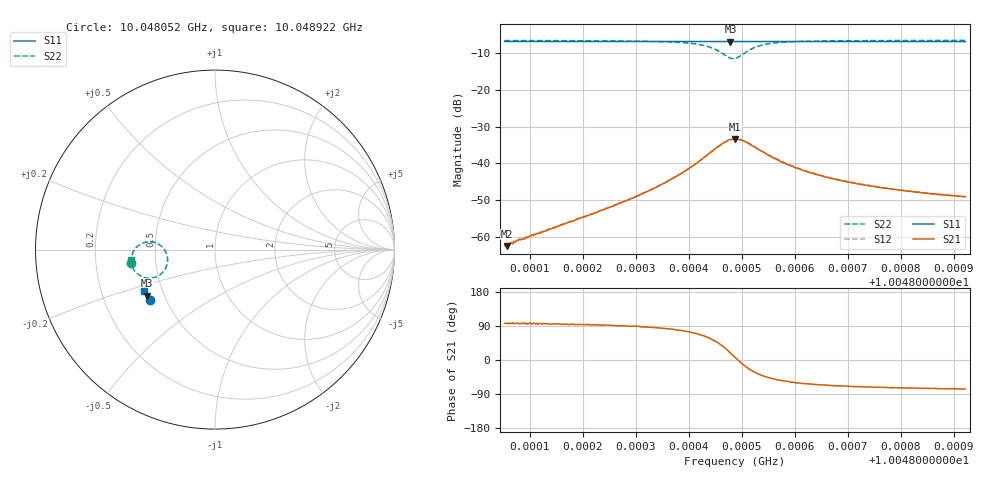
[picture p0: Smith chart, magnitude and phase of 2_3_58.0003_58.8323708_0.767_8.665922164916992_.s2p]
#  HZ  S  RI  R  50.00
! Rohde & Schwarz Vector Network Analyzer
! Rohde-Schwarz,ZNB20-2Port,1311601062101988,3.16
! Created: UTC 3/21/2024, 12:50:20 AM
! freq[Hz]  re:S11  im:S11  re:S21  im:S21  re:S12  im:S12  re:S22  im:S22
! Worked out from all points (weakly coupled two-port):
!   401 points, 10.048052 GHz to 10.048922 GHz, reference 50 ohm
!   highest |S21| = -33.35 dB at 10.048487 GHz (marker M1); lowest = -62.6 dB at 10.048056 GHz (marker M2)
!   lowest |S11| = -6.8 dB at 10.048478 GHz (marker M3), VSWR 2.68, Z = 20.1 - j13 ohm
!   |S11| at or under -10 dB: nowhere
!   |S22| runs from -11.4 to -6.5 dB; largest |S21 - S12| = 0.0019
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1.00480521e10  -0.364 -0.2807  -9e-05 0.000745  -0.000113 0.000731  -0.4673 -0.075
1.00480565e10  -0.3641 -0.2803  -9.5e-05 0.000738  -0.00016 0.000755  -0.4673 -0.0745
1.00480674e10  -0.3647 -0.2798  -0.000123 0.000786  -0.000177 0.000824  -0.4674 -0.0731
1.00480869e10  -0.3655 -0.2787  -0.000111 0.000916  -0.00016 0.000917  -0.4677 -0.0708
1.00481978e10  -0.3698 -0.2725  -0.000114 0.00182  -0.000264 0.00182  -0.4674 -0.0553
1.00482848e10  -0.3731 -0.2677  3.07e-05 0.00315  -0.00017 0.00316  -0.4648 -0.0368
1.00483435e10  -0.3753 -0.2641  0.000474 0.00493  0.000158 0.00494  -0.4583 -0.017
1.0048387e10  -0.3769 -0.2614  0.00162 0.0072  0.00117 0.00729  -0.444 0.00617
1.00484261e10  -0.3779 -0.2589  0.00504 0.0105  0.00432 0.0107  -0.4074 0.0345
1.00484413e10  -0.3782 -0.2579  0.00808 0.0119  0.00698 0.0122  -0.3778 0.0429
1.00484566e10  -0.3783 -0.2569  0.0124 0.012  0.0116 0.0125  -0.3354 0.0392
1.00484783e10  -0.378 -0.2559  0.0199 0.00664  0.0192 0.00824  -0.2724 -0.0169
1.0048487e10  -0.3781 -0.2559  0.0213 0.0026  0.021 0.00433  -0.2638 -0.0563
1.00485e10  -0.3785 -0.2559  0.0203 -0.00327  0.0206 -0.00151  -0.2795 -0.1121
1.00485109e10  -0.3792 -0.2557  0.0177 -0.0068  0.0184 -0.00535  -0.3088 -0.1422
1.00485261e10  -0.3802 -0.2552  0.0136 -0.00892  0.0145 -0.00807  -0.3512 -0.1583
1.00485414e10  -0.381 -0.2545  0.0104 -0.00951  0.0113 -0.00885  -0.384 -0.1575
1.00485848e10  -0.3831 -0.2519  0.0054 -0.00805  0.00594 -0.00785  -0.4319 -0.1349
1.00486327e10  -0.385 -0.2491  0.00323 -0.00657  0.00371 -0.00646  -0.4508 -0.1134
1.00486914e10  -0.3871 -0.2456  0.00208 -0.00532  0.00244 -0.00528  -0.4605 -0.096
1.00487783e10  -0.3903 -0.2405  0.00128 -0.00429  0.00159 -0.00421  -0.4665 -0.0789
1.00489218e10  -0.395 -0.2323  0.000811 -0.00339  0.00104 -0.00337  -0.4707 -0.06
